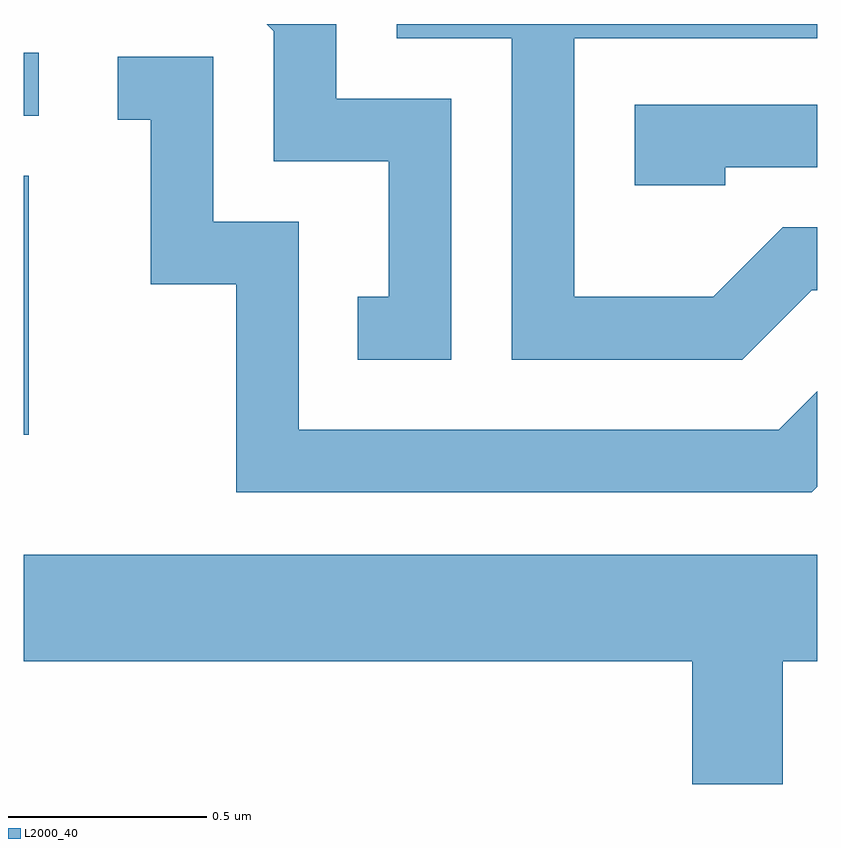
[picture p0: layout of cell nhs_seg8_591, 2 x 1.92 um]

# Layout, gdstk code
import gdstk
lib = gdstk.Library(unit=1e-6, precision=1e-09)
def R(c, l, rs):  # rectangles x0, y0, x1, y1
    for r in rs: c.add(gdstk.rectangle(r[:2], r[2:], *l))
def P(c, l, *ps):  # polygons
    for p in ps: c.add(gdstk.Polygon(p, *l))
L2000_40 = (2000, 40)

nhs_seg8_591 = lib.new_cell('nhs_seg8_591')
R(nhs_seg8_591, L2000_40, [(189.611,1850.306,189.624,1850.959), (189.611,1851.111,189.648,1851.269)])
P(nhs_seg8_591, L2000_40, [(190.689,1851.154),(190.399,1851.154),(190.399,1851.342),(190.223,1851.342),(190.241,1851.324),(190.241,1850.996),(190.531,1850.996),(190.531,1850.654),(190.453,1850.654),(190.453,1850.496),(190.689,1850.496)],
  [(191.597,1850.671),(191.611,1850.671),(191.611,1850.829),(191.524,1850.829),(191.349,1850.654),(190.999,1850.654),(190.999,1851.306),(191.611,1851.306),(191.611,1851.342),(190.551,1851.342),(190.551,1851.306),(190.841,1851.306),(190.841,1850.496),(191.422,1850.496)],
  [(191.611,1850.175),(191.611,1850.416),(191.514,1850.319),(190.304,1850.319),(190.304,1850.844),(190.089,1850.844),(190.089,1851.259),(189.848,1851.259),(189.848,1851.101),(189.931,1851.101),(189.931,1850.686),(190.146,1850.686),(190.146,1850.161),(191.597,1850.161)],
  [(191.379,1850.981),(191.611,1850.981),(191.611,1851.139),(191.151,1851.139),(191.151,1850.936),(191.379,1850.936)],
  [(191.524,1849.736),(191.611,1849.736),(191.611,1850.004),(189.611,1850.004),(189.611,1849.736),(191.296,1849.736),(191.296,1849.426),(191.524,1849.426)])

lib.write_gds('nhs_seg8_591.gds')
